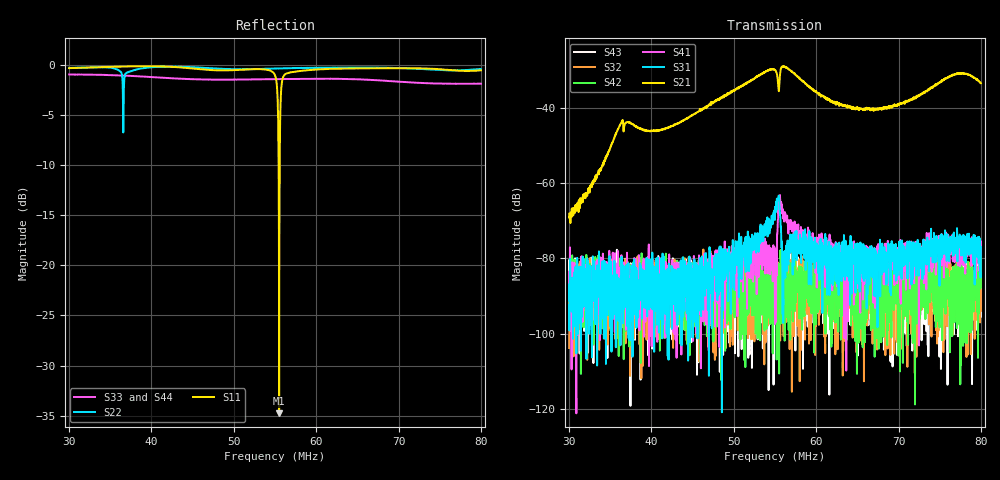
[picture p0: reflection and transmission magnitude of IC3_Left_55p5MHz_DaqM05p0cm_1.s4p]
#  HZ  S  DB  R  50.00
! Rohde & Schwarz Vector Network Analyzer
! Rohde-Schwarz,ZNB8-4Port,1311601044102961,2.82
! Created: UTC 2/13/2019, 9:24:02 AM
! freq[Hz]  db:S11  ang:S11  db:S12  ang:S12  db:S13  ang:S13  db:S14  ang:S14
!  db:S21  ang:S21  db:S22  ang:S22  db:S23  ang:S23  db:S24  ang:S24
!  db:S31  ang:S31  db:S32  ang:S32  db:S33  ang:S33  db:S34  ang:S34
!  db:S41  ang:S41  db:S42  ang:S42  db:S43  ang:S43  db:S44  ang:S44
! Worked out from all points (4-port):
!   2001 points, 30 MHz to 80 MHz, reference 50 ohm
!   strongest paths, dB at 30 MHz, 42.5 MHz, 55 MHz, 67.5 MHz, 80 MHz:
!     S21: -68.2, -44.8, -29.9, -40.4, -33.5
!     S31: -92.5, -91.1, -69.8, -81.0, -77.0
!     S41: -90.6, -84.4, -97.5, -85.3, -77.7
!     S42: -90.7, -91.9, -84.8, -91.4, -83.9
!     S32: -103.8, -90.9, -86.7, -80.4, -94.0
!     S43: -86.7, -90.3, -93.8, -87.4, -88.1
!   lowest |S11| = -34.8 dB at 55.5 MHz (marker M1), VSWR 1.04, Z = 48.2 + j0.242 ohm
!   |S11| at or under -10 dB: 55.43794 MHz to 55.56874 MHz (130.8 kHz wide, 0.236 % of centre)
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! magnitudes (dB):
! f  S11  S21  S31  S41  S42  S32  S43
! 30 MHz  -0.3  -68.2  -92.5  -90.6  -90.7  -103.8  -86.7
! 36.3 MHz  -0.1  -44.1  -86.1  -83.9  -88.5  -90.3  -88.2
! 54.92 MHz  -0.9  -29.8  -67.3  -77.0  -91.4  -86.7  -80.6
! 55.5 MHz  -34.8  -34.9  -63.9  -63.9  -110.6  -86.2  -86.0
! 56.12 MHz  -1.0  -29.0  -78.2  -68.4  -83.5  -91.2  -86.7
! 65.17 MHz  -0.3  -40.2  -81.0  -80.5  -87.0  -91.1  -88.6
! 80 MHz  -0.5  -33.5  -77.0  -77.7  -83.9  -94.0  -88.1
